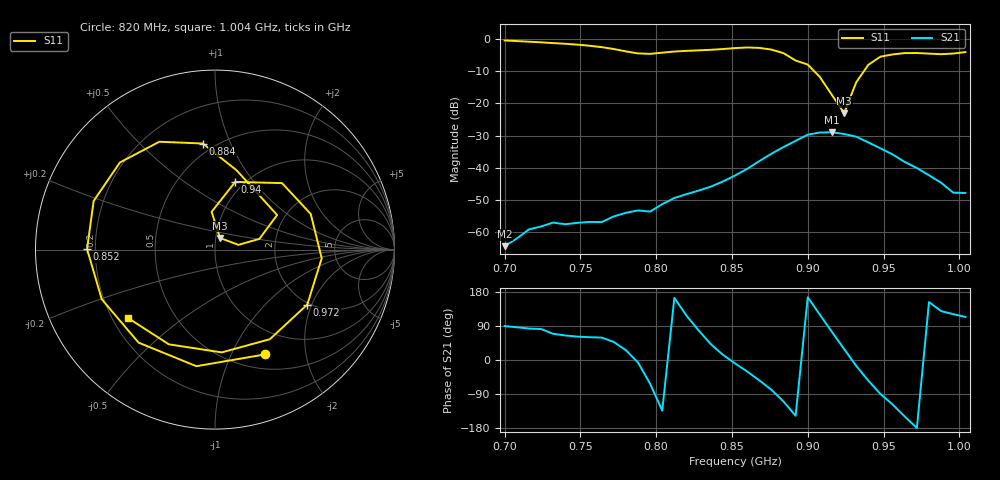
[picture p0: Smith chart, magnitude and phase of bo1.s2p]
# Hz S RI R 50
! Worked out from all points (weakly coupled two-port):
!   39 points, 700 MHz to 1.004 GHz, reference 50 ohm
!   highest |S21| = -29.03 dB at 916 MHz (marker M1); lowest = -64.3 dB at 700 MHz (marker M2)
!   lowest |S11| = -23.1 dB at 924 MHz (marker M3), VSWR 1.15, Z = 52.5 + j6.78 ohm
!   |S11| at or under -10 dB: 904.1 MHz to 937.2 MHz (33.11 MHz wide, 3.6 % of centre)
!   S12 and S22 are empty: the file has one direction only
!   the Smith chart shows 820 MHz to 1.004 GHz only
!   S11 on the Smith chart (normalised r, x): 820 MHz: 0.67, -1.35; 852 MHz: 0.17, +0.00; 884 MHz: 0.43, +0.79; 940 MHz: 0.91, +0.81; 972 MHz: 1.95, -1.86; 1.004 GHz: 0.26, -0.32
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7e8  0.7507 0.5587  4.59e-06 0.000613  0 0  0 0
7.24e8  0.8435 -0.2348  0.000175 0.00122  0 0  0 0
7.4e8  0.4613 -0.6921  0.000573 0.00121  0 0  0 0
7.56e8  -0.1855 -0.7531  0.000726 0.00126  0 0  0 0
7.72e8  -0.6605 -0.2002  0.00119 0.00131  0 0  0 0
7.8e8  -0.5908 0.2291  0.00181 0.000881  0 0  0 0
7.96e8  0.249 0.5244  0.00096 -0.00187  0 0  0 0
8.04e8  0.5808 0.1709  -0.00189 -0.00199  0 0  0 0
8.2e8  0.2759 -0.5844  -0.00178 0.00348  0 0  0 0
8.36e8  -0.4256 -0.5183  0.00381 0.00342  0 0  0 0
8.52e8  -0.7128 0.00314  0.00751 -0.00117  0 0  0 0
8.68e8  -0.53 0.4853  0.00754 -0.0102  0 0  0 0
8.84e8  -0.068 0.591  -0.00694 -0.0198  0 0  0 0
9e8  0.3461 0.1928  -0.0316 0.00805  0 0  0 0
9.08e8  0.2472 0.0597  -0.0174 0.0307  0 0  0 0
9.16e8  0.1309 0.0265  0.00982 0.034  0 0  0 0
9.24e8  0.0283 0.0643  0.0292 0.0162  0 0  0 0
9.4e8  0.1128 0.3773  0.0143 -0.0202  0 0  0 0
9.56e8  0.5335 0.1984  -0.00741 -0.0143  0 0  0 0
9.72e8  0.5142 -0.306  -0.00994 -0.000123  0 0  0 0
9.88e8  0.0378 -0.5727  -0.0037 0.00456  0 0  0 0
1.004e9  -0.4873 -0.3793  -0.00164 0.00373  0 0  0 0
